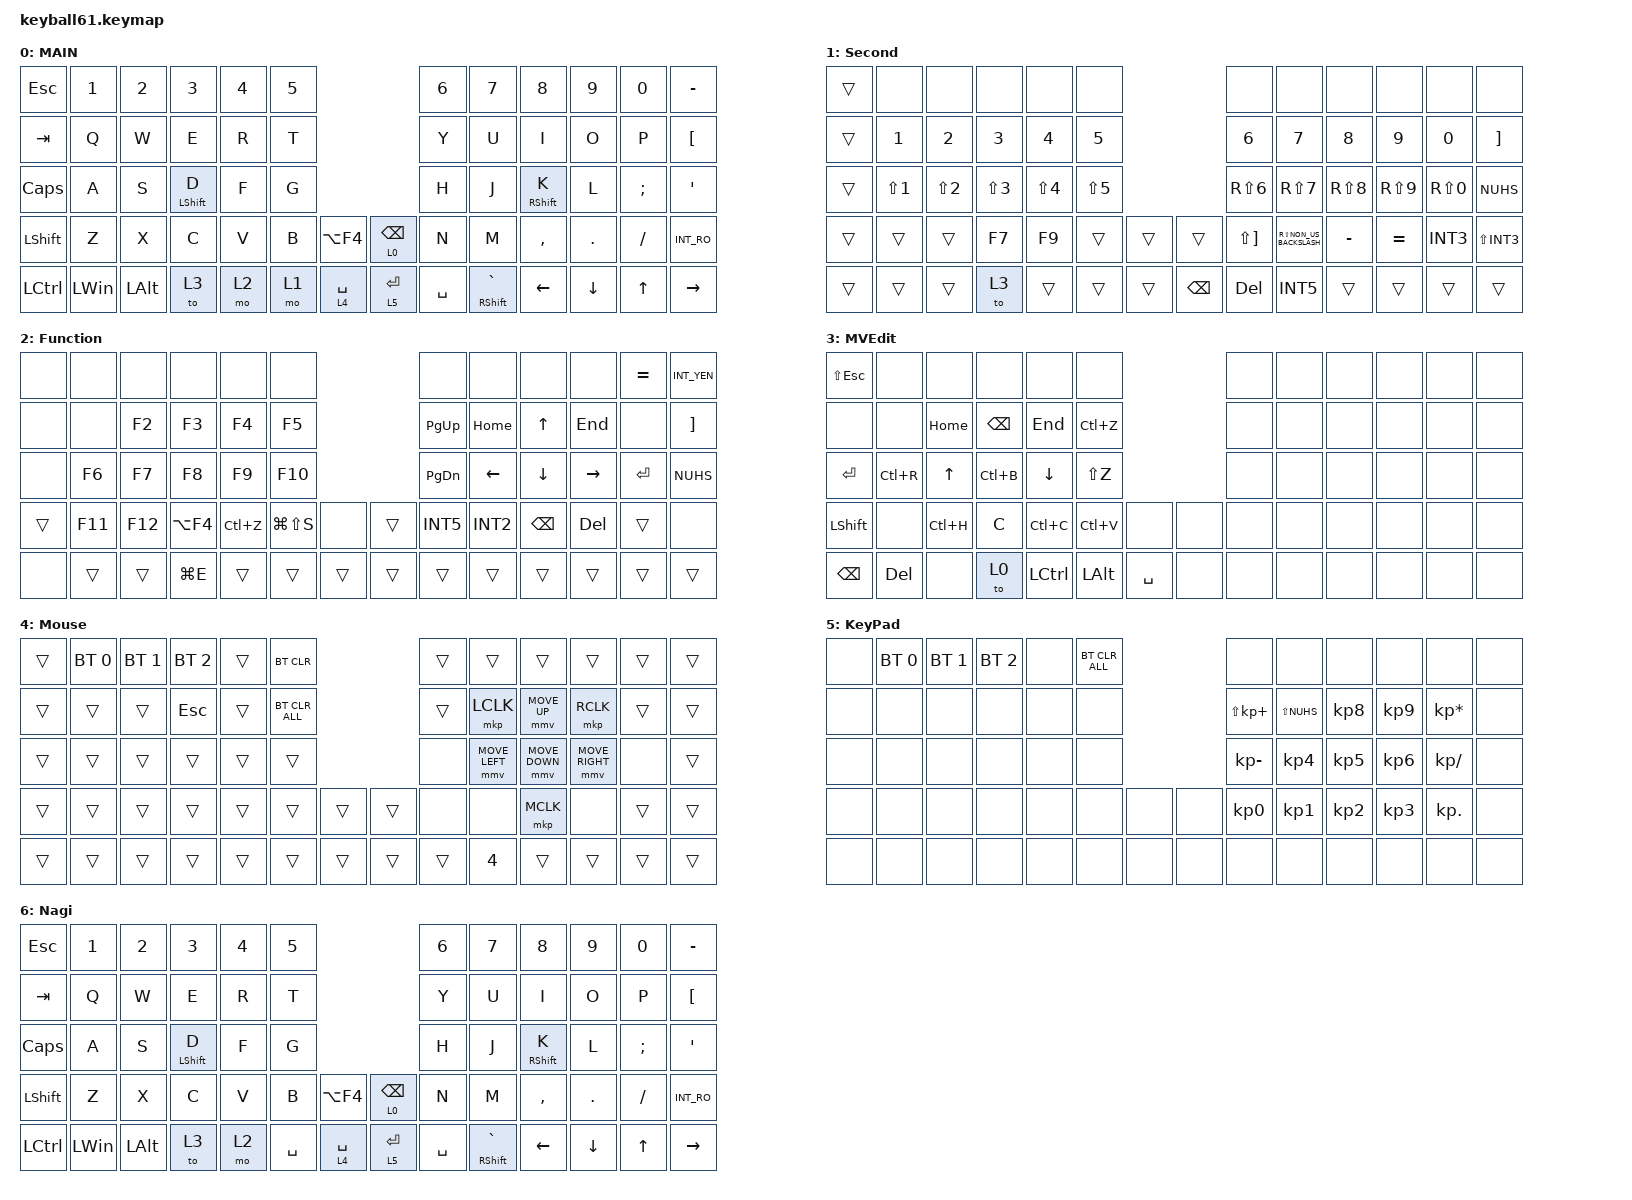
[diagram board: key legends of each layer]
#define DEFAULT 0
#define SYM     1
#define FUN     2
#define ZMK_POINTING_DEFAULT_MOVE_VAL 800  // default: 600

#include <behaviors/mouse_keys.dtsi>
#include <dt-bindings/zmk/mouse.h>
#include <behaviors.dtsi>
#include <dt-bindings/zmk/bt.h>
#include <dt-bindings/zmk/keys.h>
#include <dt-bindings/zmk/pointing.h>

&lt {
    tapping-term-ms = <180>;
    flavor = "balanced";
    quick-tap-ms = <150>;
};

&mt {
    tapping-term-ms = <180>;
    flavor = "tap-preferred";
    quick-tap-ms = <150>;
};

/ {
    combos {
        compatible = "zmk,combos";

        Main {
            bindings = <&to 0>;
            key-positions = <15 16>;
        };

        MVEdit {
            bindings = <&to 3>;
            key-positions = <27 28>;
        };

        SoftOff {
            bindings = <&soft_off>;
            key-positions = <0 1 2>;
        };

        Naginata {
            bindings = <&to 0>;
            key-positions = <30 31>;
        };

        Kana_Roma_Toggle {
            bindings = <&kp LA(INT_KANA)>;
            key-positions = <6 7 8>;
        };
    };

    keymap {
        compatible = "zmk,keymap";

        Layer0 {
            label = "MAIN";
            bindings = <
&kp ESC         &kp N1        &kp N2        &kp N3            &kp N4  &kp N5                                &kp N6     &kp N7                 &kp N8             &kp N9    &kp N0    &kp MINUS
&kp TAB         &kp Q         &kp W         &kp E             &kp R   &kp T                                 &kp Y      &kp U                  &kp I              &kp O     &kp P     &kp LEFT_BRACKET
&kp CAPSLOCK    &kp A         &kp S         &mt LEFT_SHIFT D  &kp F   &kp G                                 &kp H      &kp J                  &mt RIGHT_SHIFT K  &kp L     &kp SEMI  &kp SQT
&kp LEFT_SHIFT  &kp Z         &kp X         &kp C             &kp V   &kp B   &kp LA(F4)   &lt 0 BACKSPACE  &kp N      &kp M                  &kp COMMA          &kp DOT   &kp FSLH  &kp INT_RO
&kp LCTRL       &kp LEFT_WIN  &kp LEFT_ALT  &to 3             &mo 2   &mo 1   &lt 4 SPACE  &lt 5 ENTER      &kp SPACE  &mt RIGHT_SHIFT GRAVE  &kp LEFT           &kp DOWN  &kp UP    &kp RIGHT
            >;
        };

        Second {
            bindings = <
&trans  &none       &none       &none       &none       &none                              &none                  &none                     &none       &none       &none       &none
&trans  &kp N1      &kp N2      &kp N3      &kp N4      &kp N5                             &kp N6                 &kp N7                    &kp N8      &kp N9      &kp N0      &kp RBKT
&trans  &kp LS(N1)  &kp LS(N2)  &kp LS(N3)  &kp LS(N4)  &kp LS(N5)                         &kp RS(N6)             &kp RS(N7)                &kp RS(N8)  &kp RS(N9)  &kp RS(N0)  &kp NUHS
&trans  &trans      &trans      &kp F7      &kp F9      &trans      &trans  &trans         &kp LS(RIGHT_BRACKET)  &kp RS(NON_US_BACKSLASH)  &kp MINUS   &kp EQUAL   &kp INT3    &kp LS(INT3)
&trans  &trans      &trans      &to 3       &trans      &trans      &trans  &kp BACKSPACE  &kp DEL                &kp INT5                  &trans      &trans      &trans      &trans
            >;

            label = "Second";
        };

        Function {
            bindings = <
&none   &none    &none    &none       &none      &none                          &none          &none     &none           &none       &kp EQUAL  &kp INT_YEN
&none   &none    &kp F2   &kp F3      &kp F4     &kp F5                         &kp PG_UP      &kp HOME  &kp UP_ARROW    &kp END     &none      &kp RBKT
&none   &kp F6   &kp F7   &kp F8      &kp F9     &kp F10                        &kp PAGE_DOWN  &kp LEFT  &kp DOWN_ARROW  &kp RIGHT   &kp ENTER  &kp NUHS
&trans  &kp F11  &kp F12  &kp LA(F4)  &kp LC(Z)  &kp LG(LS(S))  &none   &trans  &kp INT5       &kp INT2  &kp BACKSPACE   &kp DELETE  &trans     &none
&none   &trans   &trans   &kp LG(E)   &trans     &trans         &trans  &trans  &trans         &trans    &trans          &trans      &trans     &trans
            >;

            label = "Function";
        };

        MVEdit {
            bindings = <
&kp LS(ESCAPE)  &none       &none      &none          &none      &none                           &none  &none  &none  &none  &none  &none
&none           &none       &kp HOME   &kp BACKSPACE  &kp END    &kp LC(Z)                       &none  &none  &none  &none  &none  &none
&kp ENTER       &kp LC(R)   &kp UP     &kp LC(B)      &kp DOWN   &kp LS(Z)                       &none  &none  &none  &none  &none  &none
&kp LSHIFT      &none       &kp LC(H)  &kp C          &kp LC(C)  &kp LC(V)     &none      &none  &none  &none  &none  &none  &none  &none
&kp BACKSPACE   &kp DELETE  &none      &to 0          &kp LCTRL  &kp LEFT_ALT  &kp SPACE  &none  &none  &none  &none  &none  &none  &none
            >;

            label = "MVEdit";
        };

        Mouse {
            bindings = <
&trans  &bt BT_SEL 0  &bt BT_SEL 1  &bt BT_SEL 2  &trans  &bt BT_CLR                      &trans  &trans          &trans          &trans           &trans  &trans
&trans  &trans        &trans        &kp ESC       &trans  &bt BT_CLR_ALL                  &trans  &mkp LCLK       &mmv MOVE_UP    &mkp RCLK        &trans  &trans
&trans  &trans        &trans        &trans        &trans  &trans                          &none   &mmv MOVE_LEFT  &mmv MOVE_DOWN  &mmv MOVE_RIGHT  &none   &trans
&trans  &trans        &trans        &trans        &trans  &trans          &trans  &trans  &none   &none           &mkp MCLK       &none            &trans  &trans
&trans  &trans        &trans        &trans        &trans  &trans          &trans  &trans  &trans  &kp N4          &trans          &trans           &trans  &trans
            >;

            label = "Mouse";
        };

        KeyPad {
            bindings = <
&none  &bt BT_SEL 0  &bt BT_SEL 1  &bt BT_SEL 2  &none  &bt BT_CLR_ALL                &none            &none         &none      &none      &none            &none
&none  &none         &none         &none         &none  &none                         &kp LS(KP_PLUS)  &kp LS(NUHS)  &kp KP_N8  &kp KP_N9  &kp KP_MULTIPLY  &none
&none  &none         &none         &none         &none  &none                         &kp KP_MINUS     &kp KP_N4     &kp KP_N5  &kp KP_N6  &kp KP_SLASH     &none
&none  &none         &none         &none         &none  &none           &none  &none  &kp KP_NUMBER_0  &kp KP_N1     &kp KP_N2  &kp KP_N3  &kp KP_DOT       &none
&none  &none         &none         &none         &none  &none           &none  &none  &none            &none         &none      &none      &none            &none
            >;

            label = "KeyPad";
        };

        Naginata {
            label = "Nagi";
            bindings = <
&kp ESC         &kp N1        &kp N2        &kp N3            &kp N4  &kp N5                                   &kp N6     &kp N7                 &kp N8             &kp N9    &kp N0    &kp MINUS
&kp TAB         &kp Q         &kp W         &kp E             &kp R   &kp T                                    &kp Y      &kp U                  &kp I              &kp O     &kp P     &kp LEFT_BRACKET
&kp CAPSLOCK    &kp A         &kp S         &mt LEFT_SHIFT D  &kp F   &kp G                                    &kp H      &kp J                  &mt RIGHT_SHIFT K  &kp L     &kp SEMI  &kp SQT
&kp LEFT_SHIFT  &kp Z         &kp X         &kp C             &kp V   &kp B      &kp LA(F4)   &lt 0 BACKSPACE  &kp N      &kp M                  &kp COMMA          &kp DOT   &kp FSLH  &kp INT_RO
&kp LCTRL       &kp LEFT_WIN  &kp LEFT_ALT  &to 3             &mo 2   &kp SPACE  &lt 4 SPACE  &lt 5 ENTER      &kp SPACE  &mt RIGHT_SHIFT GRAVE  &kp LEFT           &kp DOWN  &kp UP    &kp RIGHT
            >;
        };
    };
};
